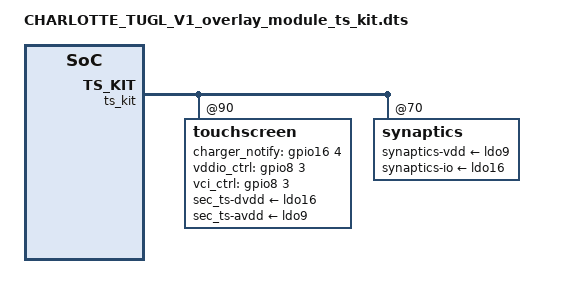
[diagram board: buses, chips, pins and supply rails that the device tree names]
/*ts kit*/
&ts_kit {
	status = "ok";
	bus_type = "i2c";
	product = "CLT";
	bus_id = <7>;
	has_virtualkey = <0>;
	fpga_flag = <0>;
	irq_gpio = <&gpio26 4 0>;
	reset_gpio = <&gpio1 7 0>;
	aft_enable = <1>;
	drv_stop_width = <0>;
	lcd_width = <0>;
	lcd_height = <0>;
	fp_tp_enable = <1>;
	touchscreen@90 {
		i2c_address = <0x17>;
		ic_type = <0>; /* oncell */
		algo_id = <1>;
		charger_notify_gpio = <&gpio16 4 0>;
		y_max_mt = <2160>;
		x_max_mt = <1080>;
		y_max = <2160>;
		x_max = <1080>;
		irq_config = <0>;
		raw_data_limit =	"999999", "-999999", /* mutual raw cap max min*/
					"999999", "-999999", /* mutual raw cap gap col max raw max*/
					"999999", "-999999", /* mutual detla max min*/
					"999999", "-999999", /* self raw cap long(rx) max min*/
					"999999", "-999999", /* self raw cap short(tx) max min*/
					"999999", "-999999", /* self detla long(rx) max min*/
					"999999", "-999999"; /* self detla short(tx) max min*/
		cal_data_limit = "99999", "99999", "99999";
		sec_ts-dvdd-supply = <&ldo16>;
		sec_ts-avdd-supply = <&ldo9>;
		dvdd_value = <1850000>;
		avdd_value = <3300000>;
		i2c-burstmax = <256>;
		max_x = <1079>;
		max_y = <2159>;
		vddio_regulator_type = <1>;
		vddio_gpio_type = <0>;
		vddio_ctrl_gpio = <&gpio8 3 0>;
		vci_regulator_type = <1>;
		vci_gpio_type = <0>;
		vci_ctrl_gpio = <&gpio8 3 0>;
		supported_func_indicater = <1>;
		charger_supported = <1>;
		tp_test_type = "Normalize_type:judge_different_reslut";
		BLAC570900 {
			producer = "sdc";
			roi_data_addr = <0x75>;
			roi_control_bit = <0>;
			roi_control_addr = <0x76>;
			roi_supported = <1>;
		};
	};
	synaptics: touchscreen@70 {
		compatible = "synaptics";
		algo_id = <1>;
		raw_data_limit ="999999", "-999999", /* mutual raw cap max min*/
				"999999", "-999999", /* mutual raw cap gap col max raw max*/
				"999999", "-999999", /* mutual detla max min*/
				"999999", "-999999", /* self raw cap long(rx) max min*/
				"999999", "-999999", /* self raw cap short(tx) max min*/
				"999999", "-999999", /* self detla long(rx) max min*/
				"999999", "-999999"; /* self detla short(tx) max min*/
		need_wd_check_status = <0>;
		x_max = <1080>;
		y_max = <2240>;
		x_max_mt = <1080>;
		y_max_mt = <2240>;
		irq_config = <0>;
		producer = "Samsung";
		projectid_len = <10>;
		ic_type = <6>;
		is_multi_protocal = <2>;
		delay_for_fw_update = <1>;
		vci_gpio_type = <0>;
		vci_regulator_type = <1>;
		vddio_gpio_type = <0>;
		vddio_regulator_type = <1>;
		slave_address = <0x70>;
		unite_cap_test_interface =<1>;
		pinctrl-1 = <&gpio212_cfg_idle>;
		pinctrl-0 = <&gpio212_cfg_func>;
		pinctrl-names = "default", "idle";
		synaptics-vdd-supply = <&ldo9>;
		synaptics-io-supply = <&ldo16>;
		vci_value = <3300000>;
		need_set_vddio_value = <1800000>;
		use_lcdkit_power_notify = <1>;
		fp_tp_report_touch_minor_event = <1>;
		CLTE500900{
			producer = "Samsung";
			compatible = "synaptics-CLTE500900";
			roi_data_addr = <0x0400>;
			roi_control_bit = <0>;
			roi_control_addr = <0x0402>;
			roi_supported = <1>;
			glove_switch_bit = <0>;
			glove_switch_addr = <0x001D>;
			holster_switch_bit = <1>;
			holster_switch_addr = <0x001D>;
			charger_supported = <0>;
			charger_switch_bit = <5>;
			charger_switch_addr = <0x000D>;
			//adv_width and is_multi_protocal is a couple for new_wx_wy fuk
			adv_width = "000";
			//raw_data_limit = "9999", "-9999", "9999", "-9999", "9999", "-9999", "9999", "-9999";
			capacitance_test_config = <1>;
			report_rate_test = <0>;
			ic_type = <6>;
			raw_test_type = <0>;
			rawdata_arrange_type = <2>;
			noise_state_reg = <0x0108>;
			//ic_status_reg = <0x0006>;
			//touch_switch_flag = <0>;
			touch_switch_reg = <0x000D>;
			//touch switch bit = <2> write code to not changed
			touch_switch_hold_off_reg = <0x0011>;
			test_enhance_raw_data_capacitance = <0>;
			huawei,test_capacitance_via_csvfile = <1>;
			//csv file at /product mark 1 at /odm mark 2
			huawei,csvfile_use_product_system = <2>;
			huawei,trx_delta_test_support = <1>;
			huawei,support_s3706_short_test = <1>;
			//self_cap_test = <1>;
		};
	};
};
